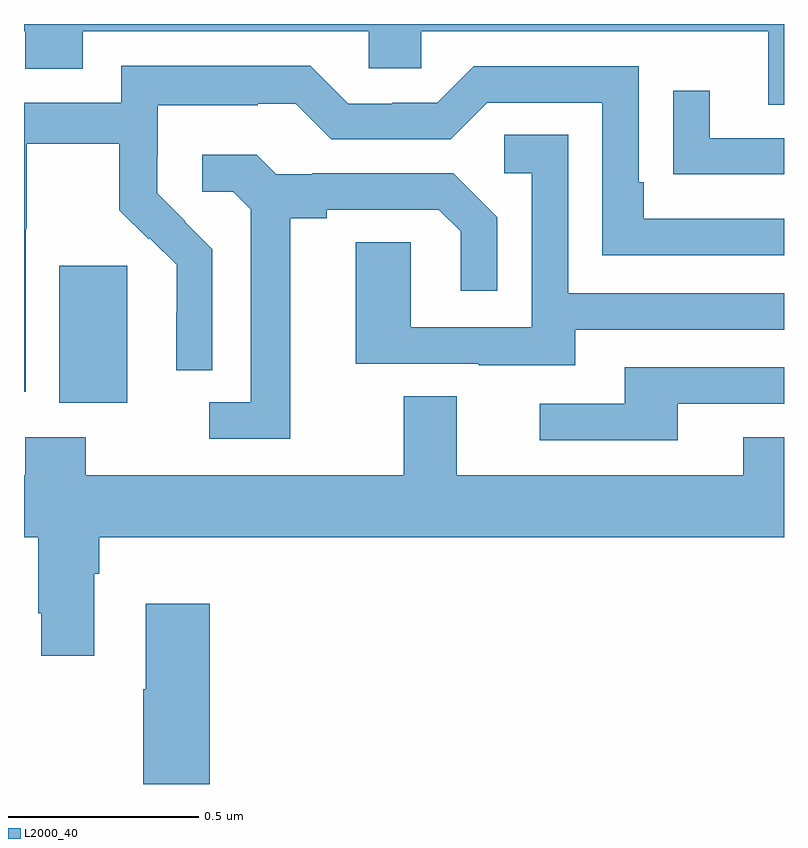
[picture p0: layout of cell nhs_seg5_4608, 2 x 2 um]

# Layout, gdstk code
import gdstk
lib = gdstk.Library(unit=1e-6, precision=1e-09)
def R(c, l, rs):  # rectangles x0, y0, x1, y1
    for r in rs: c.add(gdstk.rectangle(r[:2], r[2:], *l))
def P(c, l, *ps):  # polygons
    for p in ps: c.add(gdstk.Polygon(p, *l))
L2000_40 = (2000, 40)

nhs_seg5_4608 = lib.new_cell('nhs_seg5_4608')
R(nhs_seg5_4608, L2000_40, [(173.093,835.802,173.272,836.163)])
P(nhs_seg5_4608, L2000_40, [(175,836.799),(173,836.799),(173,836.78),(173.003,836.78),(173.003,836.681),(173.155,836.681),(173.155,836.78),(173.907,836.78),(173.907,836.682),(174.045,836.682),(174.045,836.78),(174.959,836.78),(174.959,836.586),(175,836.586)],
  [(173.004,836.26),(173.007,836.26),(173.007,836.484),(173.251,836.484),(173.251,836.309),(173.328,836.232),(173.331,836.235),(173.402,836.165),(173.402,836.042),(173.4,836.042),(173.4,835.888),(173.496,835.888),(173.496,836.206),(173.423,836.279),(173.424,836.28),(173.35,836.354),(173.35,836.451),(173.352,836.451),(173.352,836.585),(173.615,836.585),(173.615,836.589),(173.715,836.589),(173.808,836.496),(174.123,836.496),(174.219,836.592),(174.522,836.592),(174.522,836.19),(175,836.19),(175,836.286),(174.631,836.286),(174.631,836.383),(174.618,836.383),(174.618,836.688),(174.183,836.688),(174.087,836.592),(173.969,836.592),(173.969,836.589),(173.853,836.589),(173.753,836.689),(173.256,836.689),(173.256,836.592),(173,836.592),(173,835.831),(173.004,835.831)],
  [(175,836.499),(174.805,836.499),(174.805,836.623),(174.709,836.623),(174.709,836.404),(174.811,836.404),(174.811,836.403),(175,836.403)],
  [(174.451,835.995),(175,835.995),(175,836.091),(174.432,836.091),(174.432,836.507),(174.264,836.507),(174.264,836.406),(174.336,836.406),(174.336,836.001),(174.018,836.001),(174.018,836.225),(173.873,836.225),(173.873,835.905),(174.197,835.905),(174.197,835.901),(174.451,835.901)],
  [(173.701,836.288),(173.797,836.288),(173.797,836.31),(174.092,836.31),(174.149,836.253),(174.149,836.097),(174.246,836.097),(174.246,836.29),(174.13,836.406),(173.758,836.406),(173.758,836.403),(173.664,836.403),(173.612,836.455),(173.469,836.455),(173.469,836.358),(173.55,836.358),(173.597,836.311),(173.597,835.803),(173.487,835.803),(173.487,835.707),(173.701,835.707)],
  [(174.721,835.8),(175,835.8),(175,835.896),(174.581,835.896),(174.581,835.8),(174.357,835.8),(174.357,835.704),(174.721,835.704)],
  [(173.185,835.352),(173.198,835.352),(173.198,835.448),(175,835.448),(175,835.711),(174.893,835.711),(174.893,835.612),(174.139,835.612),(174.139,835.82),(173.999,835.82),(173.999,835.612),(173.163,835.612),(173.163,835.711),(173.003,835.711),(173.003,835.612),(173,835.612),(173,835.448),(173.038,835.448),(173.038,835.249),(173.045,835.249),(173.045,835.137),(173.185,835.137)],
  [(173.489,835.273),(173.321,835.273),(173.321,835.049),(173.314,835.049),(173.314,834.799),(173.489,834.799)])

lib.write_gds('nhs_seg5_4608.gds')
